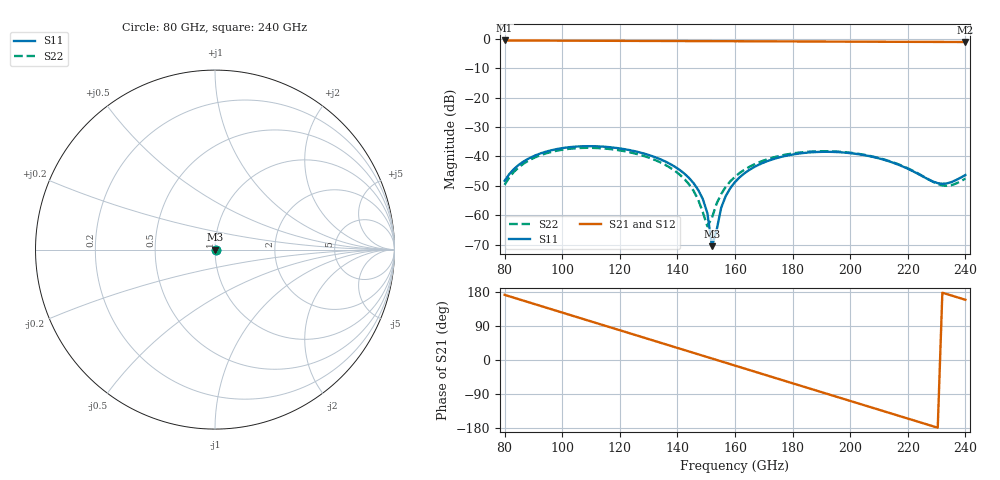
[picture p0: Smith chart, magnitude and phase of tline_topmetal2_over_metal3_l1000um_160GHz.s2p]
#  GHZ S DB R 50
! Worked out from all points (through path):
!   101 points, 80 GHz to 240 GHz, reference 50 ohm
!   highest |S21| = -0.61 dB at 80 GHz (marker M1); lowest = -1.1 dB at 240 GHz (marker M2)
!   group delay of S21, straight-line fit = 6.48 ps
!   lowest |S11| = -70.4 dB at 152 GHz (marker M3), VSWR 1.00, Z = 50 + j0.0182 ohm
!   |S11| at or under -10 dB: start of sweep to end of sweep
!   |S22| runs from -63.7 to -37.1 dB; largest |S21 - S12| = 1e-13
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80  -48.24 5.1  -0.61 171.9  -0.61 171.9  -49.64 6.7
83.2  -44.29 -7.4  -0.62 164.4  -0.62 164.4  -45.24 -7.0
89.6  -40.09 -27.0  -0.64 149.5  -0.64 149.5  -40.74 -27.1
107.2  -36.53 -75.1  -0.70 108.4  -0.70 108.4  -37.08 -75.8
120  -37.26 -108.6  -0.74 78.5  -0.74 78.5  -37.93 -109.9
134.4  -41.07 -146.0  -0.79 45.0  -0.79 45.0  -42.14 -149.1
142.4  -45.80 -167.5  -0.81 26.3  -0.81 26.3  -47.61 -174.3
147.2  -51.30 178.4  -0.83 15.1  -0.83 15.1  -54.61 161.7
150.4  -59.21 165.8  -0.84 7.6  -0.84 7.6  -63.68 96.1
152  -70.44 142.6  -0.84 3.9  -0.84 3.9  -60.81 33.3
153.6  -65.10 -2.5  -0.85 0.2  -0.85 0.2  -56.05 8.4
155.2  -57.39 -14.9  -0.85 -3.6  -0.85 -3.6  -52.72 -3.9
156.8  -53.38 -21.3  -0.86 -7.3  -0.86 -7.3  -50.29 -12.2
160  -48.67 -31.5  -0.87 -14.8  -0.87 -14.8  -46.87 -25.0
164.8  -44.66 -45.5  -0.89 -26.0  -0.89 -26.0  -43.61 -40.8
171.2  -41.58 -63.7  -0.91 -40.9  -0.91 -40.9  -40.95 -60.3
187.2  -38.54 -109.7  -0.97 -78.2  -0.97 -78.2  -38.29 -107.5
200  -38.86 -148.0  -1.02 -108.0  -1.02 -108.0  -38.72 -146.3
214.4  -41.94 163.6  -1.06 -141.5  -1.06 -141.5  -41.81 165.5
230.4  -49.05 68.3  -1.11 -178.7  -1.11 -178.7  -49.34 75.4
235.2  -48.67 21.2  -1.12 170.1  -1.12 170.1  -49.72 26.9
240  -46.28 -15.8  -1.14 158.9  -1.14 158.9  -47.52 -14.0
